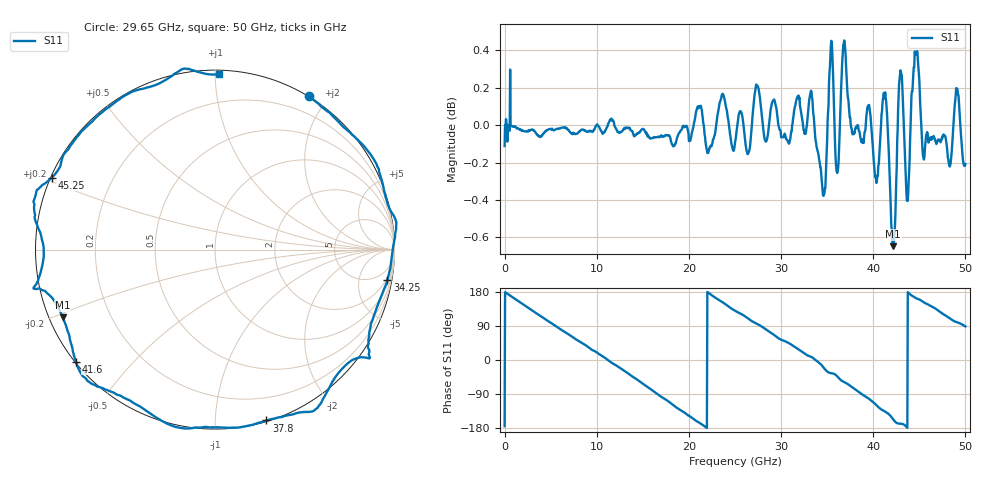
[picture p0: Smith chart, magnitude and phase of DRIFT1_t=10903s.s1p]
!Created with skrf (http://scikit-rf.org).
# Hz S RI R 50.0
!freq ReS11 ImS11
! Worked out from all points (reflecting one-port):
!   1001 points, 300 kHz to 50 GHz, reference 50 ohm
!   lowest |S11| = -0.6 dB at 42.15 GHz (marker M1), VSWR 26.88, Z = 1.94 - j10.6 ohm
!   phase of S11 starts at -175 deg and turns -817 deg over the sweep
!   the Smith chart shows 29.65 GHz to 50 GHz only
!   S11 on the Smith chart (normalised r, x): 29.65 GHz: -0.01, +1.79; 34.25 GHz: 2, -11; 37.8 GHz: 0.01, -1.35; 41.6 GHz: 0.00, -0.35; 45.25 GHz: 0.00, +0.21; 50 GHz: 0.02, +1.02
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300000  -0.9829 -0.0925
1.500291e9  -0.9058 0.4187
3.30028e9  -0.5804 0.8094
6.250262e9  0.2027 0.9776
9.500243e9  0.8924 0.4425
1.250022e10  0.932 -0.3503
1.580021e10  0.2369 -0.963
1.73502e10  -0.2122 -0.9703
1.875019e10  -0.5986 -0.7919
2.150017e10  -0.9934 -0.1488
2.350016e10  -0.9221 0.4279
2.500015e10  -0.6345 0.7591
2.740014e10  -0.0945 1.02
2.965012e10  0.5246 0.8548
3.125011e10  0.7863 0.6196
3.31001e10  1.002 0.1769
3.425009e10  0.9601 -0.1666
3.520009e10  0.8598 -0.5601
3.750008e10  0.3736 -0.9328
3.780007e10  0.2869 -0.952
3.955006e10  -0.2196 -0.9884
4.160005e10  -0.7755 -0.6237
4.215005e10  -0.8483 -0.377
4.290004e10  -1.008 -0.2187
4.375004e10  -0.9546 0.0116
4.525003e10  -0.9103 0.4006
4.770001e10  -0.4902 0.8644
5e10  0.0236 0.9761
